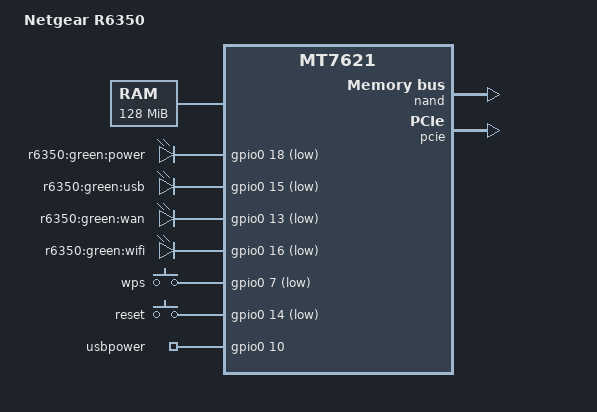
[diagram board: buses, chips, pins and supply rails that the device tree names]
/dts-v1/;

#include "mt7621.dtsi"

#include <dt-bindings/gpio/gpio.h>
#include <dt-bindings/input/input.h>

/ {
	compatible = "netgear,r6350", "mediatek,mt7621-soc";
	model = "Netgear R6350";

	aliases {
		led-status = &led_power;
	};

	memory@0 {
		device_type = "memory";
		reg = <0x0 0x8000000>;
	};

	chosen {
		bootargs = "console=ttyS0,57600";
	};

	gpio-leds {
		compatible = "gpio-leds";

		led_power: power {
			label = "r6350:green:power";
			gpios = <&gpio0 18 GPIO_ACTIVE_LOW>;
		};

		usb {
			label = "r6350:green:usb";
			gpios = <&gpio0 15 GPIO_ACTIVE_LOW>;
		};

		internet {
			label = "r6350:green:wan";
			gpios = <&gpio0 13 GPIO_ACTIVE_LOW>;
		};

		wifi {
			label = "r6350:green:wifi";
			gpios = <&gpio0 16 GPIO_ACTIVE_LOW>;
		};
	};

	gpio-keys-polled {
		compatible = "gpio-keys-polled";
		poll-interval = <20>;

		wps {
			label = "wps";
			gpios = <&gpio0 7 GPIO_ACTIVE_LOW>;
			linux,code = <KEY_WPS_BUTTON>;
		};

		reset {
			label = "reset";
			gpios = <&gpio0 14 GPIO_ACTIVE_LOW>;
			linux,code = <KEY_RESTART>;
		};
	};

	gpio_export {
		compatible = "gpio-export";
		#size-cells = <0>;

		usbpower {
			gpio-export,name = "usbpower";
			gpio-export,output = <1>;
			gpios = <&gpio0 10 GPIO_ACTIVE_HIGH>;
		};
	};
};

&nand {
	status = "okay";

	partitions {
		compatible = "fixed-partitions";
		#address-cells = <1>;
		#size-cells = <1>;

		partition@0 {
			label = "u-boot";
			reg = <0x0 0x100000>;
			read-only;
		};

		partition@100000 {
			label = "SC PART_MAP";
			reg = <0x100000 0x100000>;
			read-only;
		};

		partition@200000 {
			label = "kernel";
			reg = <0x200000 0x400000>;
		};

		partition@600000 {
			label = "ubi";
			reg = <0x600000 0x2800000>;
		};

		/* +0x02E00000 - +0x04600000 : reserved */

		factory: partition@4600000 {
			label = "factory";
			reg = <0x4600000 0x200000>;
			read-only;
		};

		/* +0x04800000 - +0x08000000 : reserved */
	};
};

&pcie {
	status = "okay";
};

&pcie1 {
	mt76@0,0 {
		reg = <0x0000 0 0 0 0>;
		mediatek,mtd-eeprom = <&factory 0x0000>;
		ieee80211-freq-limit = <2400000 2500000>;
	};
};

&ethernet {
	mtd-mac-address = <&factory 0x00000004>;
};

&pinctrl {
	state_default: pinctrl0 {
		gpio {
			ralink,group = "uart3", "uart2", "jtag", "wdt";
			ralink,function = "gpio";
		};
	};
};
